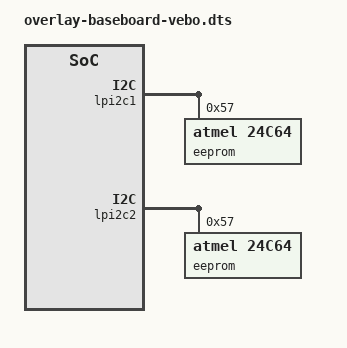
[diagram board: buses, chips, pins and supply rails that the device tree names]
/*
 * Copyright (C) 2022 Avnet Embedded
 *
 * This program is free software; you can redistribute it and/or
 * modify it under the terms of the GNU General Public License as
 * published by the Free Software Foundation version 2.
 *
 * This program is distributed "as is" WITHOUT ANY WARRANTY of any
 * kind, whether express or implied; without even the implied warranty
 * of MERCHANTABILITY or FITNESS FOR A PARTICULAR PURPOSE.  See the
 * GNU General Public License for more details.
 */

/dts-v1/;
/plugin/;

/ {
	fragment@1000 {
		target = <&lpi2c1>;
		__overlay__ {
			#address-cells = <1>;
			#size-cells = <0>;
			eeprom@57 {
				compatible = "atmel,24c64";
				reg = <0x57>;
				pagesize = <32>;
			};
		};
	};

	fragment@1001 {
		target = <&lpi2c2>;
		__overlay__ {
			#address-cells = <1>;
			#size-cells = <0>;
			eeprom@57 {
				compatible = "atmel,24c64";
				reg = <0x57>;
				pagesize = <32>;
			};
		};
	};

	fragment@1002 {
		target = <&spidev0_0>;
		__overlay__ {
			compatible = "jedec,spi-nor";
		};
	};

	fragment@1003 {
		target = <&spidev0_1>;
		__overlay__ {
			compatible = "jedec,spi-nor";
		};
	};

	fragment@1004 {
		target = <&spidev1_0>;
		__overlay__ {
			compatible = "jedec,spi-nor";
		};
	};

	fragment@1005 {
		target = <&spidev1_1>;
		__overlay__ {
			compatible = "jedec,spi-nor";
		};
	};
};
